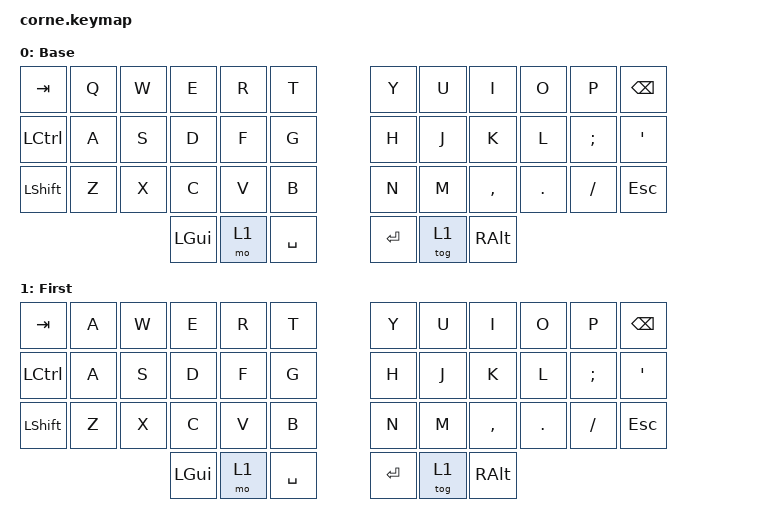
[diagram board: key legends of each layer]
/*
 * Copyright (c) 2020 The ZMK Contributors
 *
 * SPDX-License-Identifier: MIT
 */

#include <behaviors.dtsi>
#include <dt-bindings/zmk/keys.h>
#include <dt-bindings/zmk/bt.h>

/ {
        keymap {
                compatible = "zmk,keymap";

                default_layer {
                         label = "Base";
// -----------------------------------------------------------------------------------------
// |  TAB |  Q  |  W  |  E  |  R  |  T  |   |  Y  |  U   |  I  |  O  |  P  | BSPC |
// | CTRL |  A  |  S  |  D  |  F  |  G  |   |  H  |  J   |  K  |  L  |  ;  |  '   |
// | SHFT |  Z  |  X  |  C  |  V  |  B  |   |  N  |  M   |  ,  |  .  |  /  | ESC  |
//                    | GUI | LWR | SPC |   | ENT | RSE  | ALT |
                        bindings = <
   &kp TAB   &kp Q &kp W &kp E &kp R &kp T   &kp Y &kp U  &kp I     &kp O   &kp P    &kp BSPC
   &kp LCTRL &kp A &kp S &kp D &kp F &kp G   &kp H &kp J  &kp K     &kp L   &kp SEMI &kp SQT
   &kp LSHFT &kp Z &kp X &kp C &kp V &kp B   &kp N &kp M  &kp COMMA &kp DOT &kp FSLH &kp ESC
                  &kp LGUI &mo 1 &kp SPACE   &kp RET &tog 1 &kp RALT
                        >;
                };

                first_layer {
                         label = "First";
// -----------------------------------------------------------------------------------------
// |  TAB |  Q  |  W  |  E  |  R  |  T  |   |  Y  |  U   |  I  |  O  |  P  | BSPC |
// | CTRL |  A  |  S  |  D  |  F  |  G  |   |  H  |  J   |  K  |  L  |  ;  |  '   |
// | SHFT |  Z  |  X  |  C  |  V  |  B  |   |  N  |  M   |  ,  |  .  |  /  | ESC  |
//                    | GUI | LWR | SPC |   | ENT | RSE  | ALT |
                        bindings = <
   &kp TAB   &kp A &kp W &kp E &kp R &kp T   &kp Y &kp U  &kp I     &kp O   &kp P    &kp BSPC
   &kp LCTRL &kp A &kp S &kp D &kp F &kp G   &kp H &kp J  &kp K     &kp L   &kp SEMI &kp SQT
   &kp LSHFT &kp Z &kp X &kp C &kp V &kp B   &kp N &kp M  &kp COMMA &kp DOT &kp FSLH &kp ESC
                  &kp LGUI &mo 1 &kp SPACE   &kp RET &tog 1 &kp RALT
                        >;
                };
        };
};
